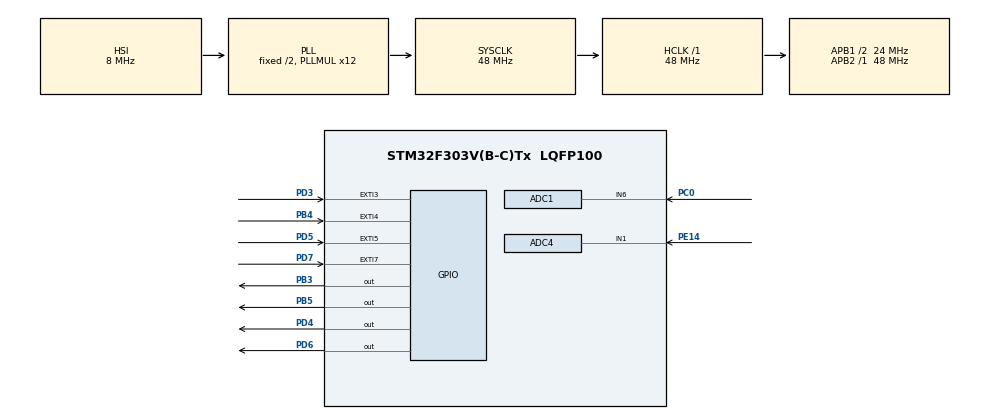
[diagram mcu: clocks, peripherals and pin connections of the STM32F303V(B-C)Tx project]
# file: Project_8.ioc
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ADC1.Channel-0\#ChannelRegularConversion=ADC_CHANNEL_6
ADC1.NbrOfConversionFlag=1
ADC1.Offset-0\#ChannelRegularConversion=0
ADC1.OffsetNumber-0\#ChannelRegularConversion=ADC_OFFSET_NONE
ADC1.Rank-0\#ChannelRegularConversion=1
ADC1.SamplingTime-0\#ChannelRegularConversion=ADC_SAMPLETIME_601CYCLES_5
ADC1.SamplingTimeOPAMP-0\#ChannelRegularConversion=ADC_SAMPLETIME_19CYCLES_5
ADC1.master=1
ADC4.Channel-0\#ChannelRegularConversion=ADC_CHANNEL_1
ADC4.NbrOfConversionFlag=1
ADC4.Offset-0\#ChannelRegularConversion=0
ADC4.OffsetNumber-0\#ChannelRegularConversion=ADC_OFFSET_NONE
ADC4.Rank-0\#ChannelRegularConversion=1
ADC4.SamplingTime-0\#ChannelRegularConversion=ADC_SAMPLETIME_601CYCLES_5
ADC4.SamplingTimeOPAMP-0\#ChannelRegularConversion=ADC_SAMPLETIME_19CYCLES_5
Mcu.Family=STM32F3
Mcu.Name=STM32F303V(B-C)Tx
Mcu.Package=LQFP100
NVIC.ADC1_2_IRQn=true\:1\:0\:true\:false\:true\:true\:true
NVIC.ADC4_IRQn=true\:1\:0\:true\:false\:true\:true\:true
NVIC.EXTI3_IRQn=true\:1\:0\:true\:false\:true\:true\:true
NVIC.EXTI4_IRQn=true\:1\:0\:true\:false\:true\:true\:true
NVIC.EXTI9_5_IRQn=true\:1\:0\:true\:false\:true\:true\:true
NVIC.PriorityGroup=NVIC_PRIORITYGROUP_4
NVIC.TIM3_IRQn=true\:1\:0\:true\:false\:true\:true\:true
PB3.GPIO_PuPd=GPIO_PULLDOWN
PB3.Signal=GPIO_Output
PB4.GPIO_ModeDefaultEXTI=GPIO_MODE_IT_RISING_FALLING
PB4.GPIO_PuPd=GPIO_PULLDOWN
PB4.Signal=GPXTI4
PB5.GPIO_PuPd=GPIO_PULLDOWN
PB5.Signal=GPIO_Output
PC0.Signal=ADCx_IN6
PD3.GPIO_ModeDefaultEXTI=GPIO_MODE_IT_RISING_FALLING
PD3.GPIO_PuPd=GPIO_PULLDOWN
PD3.Signal=GPXTI3
PD4.GPIO_PuPd=GPIO_PULLDOWN
PD4.Signal=GPIO_Output
PD5.GPIO_ModeDefaultEXTI=GPIO_MODE_IT_RISING_FALLING
PD5.GPIO_PuPd=GPIO_PULLDOWN
PD5.Signal=GPXTI5
PD6.GPIO_PuPd=GPIO_PULLDOWN
PD6.Signal=GPIO_Output
PD7.GPIO_ModeDefaultEXTI=GPIO_MODE_IT_RISING_FALLING
PD7.GPIO_PuPd=GPIO_PULLDOWN
PD7.Signal=GPXTI7
PE14.Mode=IN1-Single-Ended
PE14.Signal=ADC4_IN1
ProjectManager.HeapSize=0x200
ProjectManager.StackSize=0x400
ProjectManager.TargetToolchain=STM32CubeIDE
RCC.AHBFreq_Value=48000000
RCC.APB1CLKDivider=RCC_HCLK_DIV2
RCC.APB1Freq_Value=24000000
RCC.APB1TimFreq_Value=48000000
RCC.APB2Freq_Value=48000000
RCC.APB2TimFreq_Value=48000000
RCC.CortexFreq_Value=48000000
RCC.HCLKFreq_Value=48000000
RCC.HSE_VALUE=8000000
RCC.HSI_VALUE=8000000
RCC.LSE_VALUE=32768
RCC.PLLMUL=RCC_PLL_MUL12
RCC.SYSCLKFreq_VALUE=48000000
RCC.SYSCLKSourceVirtual=RCC_SYSCLKSOURCE_PLLCLK
RCC.USBFreq_Value=48000000
SH.ADCx_IN6.0=ADC1_IN6,IN6-Single-Ended
TIM3.Period=999
TIM3.Prescaler=4799
VP_TIM3_VS_ClockSourceINT.Mode=Internal
board=custom

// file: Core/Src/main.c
/* USER CODE BEGIN Header */
/**
  ******************************************************************************
  * @file           : main.c
  * @brief          : Main program body
  ******************************************************************************
  * @attention
  *
  * <h2><center>&copy; Copyright (c) 2022 STMicroelectronics.
  * All rights reserved.</center></h2>
  *
  * This software component is licensed by ST under BSD 3-Clause license,
  * the "License"; You may not use this file except in compliance with the
  * License. You may obtain a copy of the License at:
  *                        opensource.org/licenses/BSD-3-Clause
  *
  ******************************************************************************
  */
/* USER CODE END Header */
#include "main.h"

/* USER CODE BEGIN PTD */
GPIO_TypeDef *const Row_ports[] = {GPIOD, GPIOD, GPIOD, GPIOB};
const uint16_t Row_pins[] = {GPIO_PIN_3, GPIO_PIN_5, GPIO_PIN_7, GPIO_PIN_4};
GPIO_TypeDef *const Column_ports[] = {GPIOD, GPIOD, GPIOB, GPIOB};
const uint16_t Column_pins[] = {GPIO_PIN_4, GPIO_PIN_6, GPIO_PIN_3, GPIO_PIN_5};
volatile uint32_t last_gpio_exti;
/* USER CODE END PTD */

ADC_HandleTypeDef hadc1;
ADC_HandleTypeDef hadc4;

TIM_HandleTypeDef htim3;

/* USER CODE BEGIN PV */
int pressed_number = 0;
/* USER CODE END PV */

void SystemClock_Config(void);

static void MX_TIM3_Init(void);

static void MX_GPIO_Init(void);

static void MX_ADC1_Init(void);

static void MX_ADC4_Init(void);

/* USER CODE BEGIN 0 */
void HAL_GPIO_EXTI_Callback(uint16_t GPIO_Pin) {
    if (last_gpio_exti + 200 > HAL_GetTick()) {
        return;
    }
    last_gpio_exti = HAL_GetTick();

    int8_t row_number = -1;
    int8_t column_number = -1;

    for (uint8_t row = 0; row < 4; row++) {
        if (GPIO_Pin == Row_pins[row]) {
            row_number = row;
        }
    }

    HAL_GPIO_WritePin(Column_ports[0], Column_pins[0], 0);
    HAL_GPIO_WritePin(Column_ports[1], Column_pins[1], 0);
    HAL_GPIO_WritePin(Column_ports[2], Column_pins[2], 0);
    HAL_GPIO_WritePin(Column_ports[3], Column_pins[3], 0);

    for (uint8_t col = 0; col < 4; col++) {
        HAL_GPIO_WritePin(Column_ports[col], Column_pins[col], 1);
        if (HAL_GPIO_ReadPin(Row_ports[row_number], Row_pins[row_number])) {
            column_number = col;
        }
        HAL_GPIO_WritePin(Column_ports[col], Column_pins[col], 0);
    }

    HAL_GPIO_WritePin(Column_ports[0], Column_pins[0], 1);
    HAL_GPIO_WritePin(Column_ports[1], Column_pins[1], 1);
    HAL_GPIO_WritePin(Column_ports[2], Column_pins[2], 1);
    HAL_GPIO_WritePin(Column_ports[3], Column_pins[3], 1);

    if (row_number == -1 || column_number == -1) {
        return;
    }

    const uint8_t button_number = row_number * 4 + column_number + 1;
    pressed_number = button_number;
}
/* USER CODE END 0 */

int main(void) {

    /* MCU Configuration--------------------------------------------------------*/

    /* Reset of all peripherals, Initializes the Flash interface and the Systick. */
    HAL_Init();

    /* Configure the system clock */
    SystemClock_Config();

    /* Initialize all configured peripherals */
    MX_TIM3_Init();
    MX_GPIO_Init();
    MX_ADC1_Init();
    MX_ADC4_Init();
    /* USER CODE BEGIN 2 */
    HAL_TIM_Base_Start_IT(&htim3);
    HAL_ADC_Start_IT(&hadc1);
    HAL_ADC_Start_IT(&hadc4);

    HAL_GPIO_WritePin(Column_ports[0], Column_pins[0], 1);
    HAL_GPIO_WritePin(Column_ports[1], Column_pins[1], 1);
    HAL_GPIO_WritePin(Column_ports[2], Column_pins[2], 1);
    HAL_GPIO_WritePin(Column_ports[3], Column_pins[3], 1);
    /* USER CODE END 2 */

    /* Infinite loop */
    while (1) {

    }
}

void SystemClock_Config(void) {
    RCC_OscInitTypeDef RCC_OscInitStruct = {0};
    RCC_ClkInitTypeDef RCC_ClkInitStruct = {0};
    RCC_PeriphCLKInitTypeDef PeriphClkInit = {0};

    /** Initializes the RCC Oscillators according to the specified parameters
    * in the RCC_OscInitTypeDef structure.
    */
    RCC_OscInitStruct.OscillatorType = RCC_OSCILLATORTYPE_HSI;
    RCC_OscInitStruct.HSIState = RCC_HSI_ON;
    RCC_OscInitStruct.HSICalibrationValue = RCC_HSICALIBRATION_DEFAULT;
    RCC_OscInitStruct.PLL.PLLState = RCC_PLL_ON;
    RCC_OscInitStruct.PLL.PLLSource = RCC_PLLSOURCE_HSI;
    RCC_OscInitStruct.PLL.PLLMUL = RCC_PLL_MUL12;
    if (HAL_RCC_OscConfig(&RCC_OscInitStruct) != HAL_OK) {
        Error_Handler();
    }
    /** Initializes the CPU, AHB and APB buses clocks
    */
    RCC_ClkInitStruct.ClockType = RCC_CLOCKTYPE_HCLK | RCC_CLOCKTYPE_SYSCLK
                                  | RCC_CLOCKTYPE_PCLK1 | RCC_CLOCKTYPE_PCLK2;
    RCC_ClkInitStruct.SYSCLKSource = RCC_SYSCLKSOURCE_PLLCLK;
    RCC_ClkInitStruct.AHBCLKDivider = RCC_SYSCLK_DIV1;
    RCC_ClkInitStruct.APB1CLKDivider = RCC_HCLK_DIV2;
    RCC_ClkInitStruct.APB2CLKDivider = RCC_HCLK_DIV1;

    if (HAL_RCC_ClockConfig(&RCC_ClkInitStruct, FLASH_LATENCY_1) != HAL_OK) {
        Error_Handler();
    }
    PeriphClkInit.PeriphClockSelection = RCC_PERIPHCLK_ADC12 | RCC_PERIPHCLK_ADC34;
    PeriphClkInit.Adc12ClockSelection = RCC_ADC12PLLCLK_DIV1;
    PeriphClkInit.Adc34ClockSelection = RCC_ADC34PLLCLK_DIV1;
    if (HAL_RCCEx_PeriphCLKConfig(&PeriphClkInit) != HAL_OK) {
        Error_Handler();
    }
}

static void MX_ADC1_Init(void) {

    ADC_MultiModeTypeDef multimode = {0};
    ADC_ChannelConfTypeDef sConfig = {0};

    /** Common config
    */
    hadc1.Instance = ADC1;
    hadc1.Init.ClockPrescaler = ADC_CLOCK_ASYNC_DIV1;
    hadc1.Init.Resolution = ADC_RESOLUTION_12B;
    hadc1.Init.ScanConvMode = ADC_SCAN_DISABLE;
    hadc1.Init.ContinuousConvMode = DISABLE;
    hadc1.Init.DiscontinuousConvMode = DISABLE;
    hadc1.Init.ExternalTrigConvEdge = ADC_EXTERNALTRIGCONVEDGE_NONE;
    hadc1.Init.ExternalTrigConv = ADC_SOFTWARE_START;
    hadc1.Init.DataAlign = ADC_DATAALIGN_RIGHT;
    hadc1.Init.NbrOfConversion = 1;
    hadc1.Init.DMAContinuousRequests = DISABLE;
    hadc1.Init.EOCSelection = ADC_EOC_SINGLE_CONV;
    hadc1.Init.LowPowerAutoWait = DISABLE;
    hadc1.Init.Overrun = ADC_OVR_DATA_OVERWRITTEN;
    if (HAL_ADC_Init(&hadc1) != HAL_OK) {
        Error_Handler();
    }
    /** Configure the ADC multi-mode
    */
    multimode.Mode = ADC_MODE_INDEPENDENT;
    if (HAL_ADCEx_MultiModeConfigChannel(&hadc1, &multimode) != HAL_OK) {
        Error_Handler();
    }
    /** Configure Regular Channel
    */
    sConfig.Channel = ADC_CHANNEL_6;
    sConfig.Rank = ADC_REGULAR_RANK_1;
    sConfig.SingleDiff = ADC_SINGLE_ENDED;
    sConfig.SamplingTime = ADC_SAMPLETIME_601CYCLES_5;
    sConfig.OffsetNumber = ADC_OFFSET_NONE;
    sConfig.Offset = 0;
    if (HAL_ADC_ConfigChannel(&hadc1, &sConfig) != HAL_OK) {
        Error_Handler();
    }

}

static void MX_ADC4_Init(void) {

    ADC_ChannelConfTypeDef sConfig = {0};

    /** Common config
    */
    hadc4.Instance = ADC4;
    hadc4.Init.ClockPrescaler = ADC_CLOCK_ASYNC_DIV1;
    hadc4.Init.Resolution = ADC_RESOLUTION_12B;
    hadc4.Init.ScanConvMode = ADC_SCAN_DISABLE;
    hadc4.Init.ContinuousConvMode = DISABLE;
    hadc4.Init.DiscontinuousConvMode = DISABLE;
    hadc4.Init.ExternalTrigConvEdge = ADC_EXTERNALTRIGCONVEDGE_NONE;
    hadc4.Init.ExternalTrigConv = ADC_SOFTWARE_START;
    hadc4.Init.DataAlign = ADC_DATAALIGN_RIGHT;
    hadc4.Init.NbrOfConversion = 1;
    hadc4.Init.DMAContinuousRequests = DISABLE;
    hadc4.Init.EOCSelection = ADC_EOC_SINGLE_CONV;
    hadc4.Init.LowPowerAutoWait = DISABLE;
    hadc4.Init.Overrun = ADC_OVR_DATA_OVERWRITTEN;
    if (HAL_ADC_Init(&hadc4) != HAL_OK) {
        Error_Handler();
    }
    /** Configure Regular Channel
    */
    sConfig.Channel = ADC_CHANNEL_1;
    sConfig.Rank = ADC_REGULAR_RANK_1;
    sConfig.SingleDiff = ADC_SINGLE_ENDED;
    sConfig.SamplingTime = ADC_SAMPLETIME_601CYCLES_5;
    sConfig.OffsetNumber = ADC_OFFSET_NONE;
    sConfig.Offset = 0;
    if (HAL_ADC_ConfigChannel(&hadc4, &sConfig) != HAL_OK) {
        Error_Handler();
    }

}

static void MX_TIM3_Init(void) {

    TIM_ClockConfigTypeDef sClockSourceConfig = {0};
    TIM_MasterConfigTypeDef sMasterConfig = {0};

    htim3.Instance = TIM3;
    htim3.Init.Prescaler = 4799;
    htim3.Init.CounterMode = TIM_COUNTERMODE_UP;
    htim3.Init.Period = 999;
    htim3.Init.ClockDivision = TIM_CLOCKDIVISION_DIV1;
    htim3.Init.AutoReloadPreload = TIM_AUTORELOAD_PRELOAD_DISABLE;
    if (HAL_TIM_Base_Init(&htim3) != HAL_OK) {
        Error_Handler();
    }
    sClockSourceConfig.ClockSource = TIM_CLOCKSOURCE_INTERNAL;
    if (HAL_TIM_ConfigClockSource(&htim3, &sClockSourceConfig) != HAL_OK) {
        Error_Handler();
    }
    sMasterConfig.MasterOutputTrigger = TIM_TRGO_RESET;
    sMasterConfig.MasterSlaveMode = TIM_MASTERSLAVEMODE_DISABLE;
    if (HAL_TIMEx_MasterConfigSynchronization(&htim3, &sMasterConfig) != HAL_OK) {
        Error_Handler();
    }

}

static void MX_GPIO_Init(void) {
    GPIO_InitTypeDef GPIO_InitStruct = {0};

    /* GPIO Ports Clock Enable */
    __HAL_RCC_GPIOC_CLK_ENABLE();
    __HAL_RCC_GPIOE_CLK_ENABLE();
    __HAL_RCC_GPIOD_CLK_ENABLE();
    __HAL_RCC_GPIOB_CLK_ENABLE();

    /*Configure GPIO pin Output Level */
    HAL_GPIO_WritePin(GPIOD, GPIO_PIN_4 | GPIO_PIN_6, GPIO_PIN_RESET);

    /*Configure GPIO pin Output Level */
    HAL_GPIO_WritePin(GPIOB, GPIO_PIN_3 | GPIO_PIN_5, GPIO_PIN_RESET);

    /*Configure GPIO pins : PD3 PD5 PD7 */
    GPIO_InitStruct.Pin = GPIO_PIN_3 | GPIO_PIN_5 | GPIO_PIN_7;
    GPIO_InitStruct.Mode = GPIO_MODE_IT_RISING_FALLING;
    GPIO_InitStruct.Pull = GPIO_PULLDOWN;
    HAL_GPIO_Init(GPIOD, &GPIO_InitStruct);

    /*Configure GPIO pins : PD4 PD6 */
    GPIO_InitStruct.Pin = GPIO_PIN_4 | GPIO_PIN_6;
    GPIO_InitStruct.Mode = GPIO_MODE_OUTPUT_PP;
    GPIO_InitStruct.Pull = GPIO_PULLDOWN;
    GPIO_InitStruct.Speed = GPIO_SPEED_FREQ_LOW;
    HAL_GPIO_Init(GPIOD, &GPIO_InitStruct);

    /*Configure GPIO pins : PB3 PB5 */
    GPIO_InitStruct.Pin = GPIO_PIN_3 | GPIO_PIN_5;
    GPIO_InitStruct.Mode = GPIO_MODE_OUTPUT_PP;
    GPIO_InitStruct.Pull = GPIO_PULLDOWN;
    GPIO_InitStruct.Speed = GPIO_SPEED_FREQ_LOW;
    HAL_GPIO_Init(GPIOB, &GPIO_InitStruct);

    /*Configure GPIO pin : PB4 */
    GPIO_InitStruct.Pin = GPIO_PIN_4;
    GPIO_InitStruct.Mode = GPIO_MODE_IT_RISING_FALLING;
    GPIO_InitStruct.Pull = GPIO_PULLDOWN;
    HAL_GPIO_Init(GPIOB, &GPIO_InitStruct);

    /* EXTI interrupt init*/
    HAL_NVIC_SetPriority(EXTI3_IRQn, 1, 0);
    HAL_NVIC_EnableIRQ(EXTI3_IRQn);

    HAL_NVIC_SetPriority(EXTI4_IRQn, 1, 0);
    HAL_NVIC_EnableIRQ(EXTI4_IRQn);

    HAL_NVIC_SetPriority(EXTI9_5_IRQn, 1, 0);
    HAL_NVIC_EnableIRQ(EXTI9_5_IRQn);

}

void Error_Handler(void) {
    __disable_irq();
    while (1) {
    }
}

/************************ (C) COPYRIGHT STMicroelectronics *****END OF FILE****/
